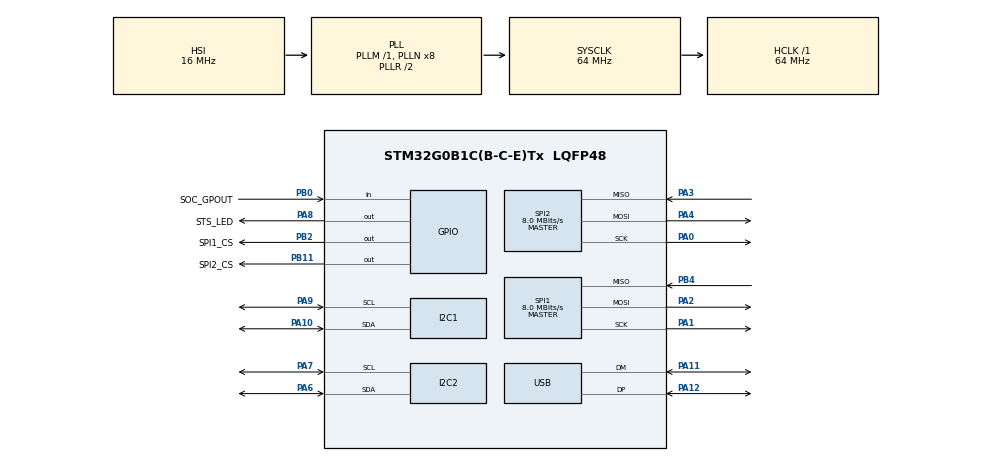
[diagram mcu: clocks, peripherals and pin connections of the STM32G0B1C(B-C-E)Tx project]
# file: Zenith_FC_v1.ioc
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FATFS._MAX_SS=512
FATFS._USE_FIND=1
I2C1.Timing=0x00503D58
I2C2.Timing=0x00503D58
Mcu.Family=STM32G0
Mcu.Name=STM32G0B1C(B-C-E)Tx
Mcu.Package=LQFP48
NVIC.TIM14_IRQn=true\:0\:0\:false\:false\:true\:true\:true\:true
NVIC.TIM16_FDCAN_IT0_IRQn=true\:0\:0\:false\:false\:true\:true\:true\:true
NVIC.TIM17_FDCAN_IT1_IRQn=true\:0\:0\:false\:false\:true\:true\:true\:true
NVIC.TIM7_LPTIM2_IRQn=true\:0\:0\:false\:false\:true\:true\:true\:true
NVIC.USB_UCPD1_2_IRQn=true\:0\:0\:false\:false\:true\:true\:true\:true
PA0.Mode=Full_Duplex_Master
PA0.Signal=SPI2_SCK
PA1.Mode=Full_Duplex_Master
PA1.Signal=SPI1_SCK
PA10.Mode=I2C
PA10.Signal=I2C1_SDA
PA11\ [PA9].Mode=Device
PA11\ [PA9].Signal=USB_DM
PA12\ [PA10].Mode=Device
PA12\ [PA10].Signal=USB_DP
PA13.Mode=Serial_Wire
PA13.Signal=SYS_SWDIO
PA14-BOOT0.Mode=Serial_Wire
PA14-BOOT0.Signal=SYS_SWCLK
PA2.Mode=Full_Duplex_Master
PA2.Signal=SPI1_MOSI
PA3.Mode=Full_Duplex_Master
PA3.Signal=SPI2_MISO
PA4.Mode=Full_Duplex_Master
PA4.Signal=SPI2_MOSI
PA6.Mode=I2C
PA6.Signal=I2C2_SDA
PA7.Mode=I2C
PA7.Signal=I2C2_SCL
PA8.GPIO_Label=STS_LED
PA8.Signal=GPIO_Output
PA9.Mode=I2C
PA9.Signal=I2C1_SCL
PB0.GPIO_Label=SOC_GPOUT
PB0.Signal=GPIO_Input
PB11.GPIO_Label=SPI2_CS
PB11.Signal=GPIO_Output
PB2.GPIO_Label=SPI1_CS
PB2.Signal=GPIO_Output
PB4.Mode=Full_Duplex_Master
PB4.Signal=SPI1_MISO
ProjectManager.HeapSize=0x1000
ProjectManager.StackSize=0x400
ProjectManager.TargetToolchain=CMake
RCC.ADCFreq_Value=64000000
RCC.AHBFreq_Value=64000000
RCC.APB1CLKDivider=RCC_HCLK_DIV4
RCC.CortexFreq_Value=64000000
RCC.EXTERNAL_CLOCK_VALUE=48000
RCC.HCLKFreq_Value=64000000
RCC.HSE_VALUE=8000000
RCC.HSI48_VALUE=48000000
RCC.HSI_VALUE=16000000
RCC.LSE_VALUE=32768
RCC.SYSCLKFreq_VALUE=64000000
RCC.SYSCLKSource=RCC_SYSCLKSOURCE_PLLCLK
RCC.USBFreq_Value=48000000
RCC.VCOOutputFreq_Value=128000000
SPI1.CLKPhase=SPI_PHASE_2EDGE
SPI1.CLKPolarity=SPI_POLARITY_HIGH
SPI1.CalculateBaudRate=8.0 MBits/s
SPI1.DataSize=SPI_DATASIZE_8BIT
SPI1.Direction=SPI_DIRECTION_2LINES
SPI1.Mode=SPI_MODE_MASTER
SPI1.VirtualType=VM_MASTER
SPI2.CalculateBaudRate=8.0 MBits/s
SPI2.DataSize=SPI_DATASIZE_8BIT
SPI2.Direction=SPI_DIRECTION_2LINES
SPI2.Mode=SPI_MODE_MASTER
SPI2.VirtualType=VM_MASTER
TIM14.Period=49999
TIM14.Prescaler=127
TIM16.Period=62499
TIM16.Prescaler=511
TIM17.Period=62499
TIM17.Prescaler=1023
TIM7.Period=39999
TIM7.Prescaler=7
USB_DEVICE.CLASS_NAME_FS=MSC
USB_DEVICE.MSC_MEDIA_PACKET=512
USB_DEVICE.USBD_DEBUG_LEVEL=0
USB_DEVICE.USBD_SELF_POWERED=0
USB_DEVICE.VirtualMode=Msc
USB_DEVICE.VirtualModeFS=Msc_FS
VP_FATFS_VS_Generic.Mode=User_defined
VP_SYS_VS_DBSignals.Mode=DisableDeadBatterySignals
VP_TIM14_VS_ClockSourceINT.Mode=Enable_Timer
VP_TIM16_VS_ClockSourceINT.Mode=Enable_Timer
VP_TIM17_VS_ClockSourceINT.Mode=Enable_Timer
VP_TIM7_VS_ClockSourceINT.Mode=Enable_Timer
VP_USB_DEVICE_VS_USB_DEVICE_MSC_FS.Mode=MSC_FS
board=custom

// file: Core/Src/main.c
/* USER CODE BEGIN Header */
/**
 ******************************************************************************
 * @file           : main.c
 * @brief          : Main program body
 ******************************************************************************
 * @attention
 *
 * Copyright (c) 2025 STMicroelectronics.
 * All rights reserved.
 *
 * This software is licensed under terms that can be found in the LICENSE file
 * in the root directory of this software component.
 * If no LICENSE file comes with this software, it is provided AS-IS.
 *
 ******************************************************************************
 */
/* USER CODE END Header */
#include "main.h"
#include "app_fatfs.h"
#include "usb_device.h"

/* USER CODE BEGIN Includes */
#include "bq27441.h"
#include "lsm6xx.h"
#include "ms5607.h"
#include "w25qxx.h"

/* USER CODE END Includes */

I2C_HandleTypeDef hi2c1;
I2C_HandleTypeDef hi2c2;

SPI_HandleTypeDef hspi1;
SPI_HandleTypeDef hspi2;

TIM_HandleTypeDef htim7;
TIM_HandleTypeDef htim14;
TIM_HandleTypeDef htim16;
TIM_HandleTypeDef htim17;

/* USER CODE BEGIN PV */
FLIGHT_STATES flight_state = PRE_LAUNCH;

// controls number of pulses for our led
static uint8_t led_count = 0;
static uint8_t led_total = 0;
static bool enable_led = false;

// store flight data in array, and flush it to a csv after flight - reduce
// read/writes on flash take 1 sample every 100ms - array has 1800 rows,
// corresponding 3 minutes of flight time
// if we run out of space flush to csv and start again

// data stored:
// | start_sample_time | end_sample_time | pressure | altitude | temperature |
// raw_accel_x | raw_accel_y | raw_accel_z | raw_gyro_x | raw_gyro_y |
// raw_gyro_z | voltage | current | soc |
static float init_data[14] = {0};
static float last_init_data[14] = {0};
static float flight_data[1800][14] = {0};
static float moving_sample_window[6][14] = {0};
static float moving_sample_window_instant[14] = {0};
uint16_t sample_point = 0;
uint16_t moving_sample_point = 0;
bool take_sample = false;
bool init_sample = false;
bool init_complete = false;
uint8_t flight_no = 0;

float avg_height;
float height_sd;

float avg_accel_y;
float accel_y_sd;

uint32_t start_flight_time = 0;
uint32_t start_pre_launch_time = 0;

/* USER CODE END PV */

void SystemClock_Config(void);
static void MX_GPIO_Init(void);
static void MX_I2C1_Init(void);
static void MX_I2C2_Init(void);
static void MX_SPI1_Init(void);
static void MX_SPI2_Init(void);
static void MX_TIM14_Init(void);
static void MX_TIM16_Init(void);
static void MX_TIM7_Init(void);
static void MX_TIM17_Init(void);
/* USER CODE BEGIN PFP */
static int16_t BQ27441_i2cWriteBytes(uint8_t DevAddress, uint8_t subAddress,
                                     uint8_t *src, uint8_t count);
static int16_t BQ27441_i2cReadBytes(uint8_t DevAddress, uint8_t subAddress,
                                    uint8_t *dest, uint8_t count);

static void blink_short(uint8_t count);
static void blink_long(uint8_t count);
/* USER CODE END PFP */

int main(void) {

  /* MCU Configuration--------------------------------------------------------*/

  /* Reset of all peripherals, Initializes the Flash interface and the Systick.
   */
  HAL_Init();

  /* USER CODE BEGIN Init */
  W25Qxxx_Init();
  /* USER CODE END Init */

  /* Configure the system clock */
  SystemClock_Config();

  /* Initialize all configured peripherals */
  MX_GPIO_Init();
  MX_I2C1_Init();
  MX_I2C2_Init();
  MX_SPI1_Init();
  MX_SPI2_Init();
  if (MX_FATFS_Init() != APP_OK) {
    Error_Handler();
  }
  MX_USB_Device_Init();
  MX_TIM14_Init();
  MX_TIM16_Init();
  MX_TIM7_Init();
  MX_TIM17_Init();
  /* USER CODE BEGIN 2 */

  // if we've connected a USB, don't worry about anything

  if (is_usb_connected()) {
    flight_state = DEBUG;
  }
  // tiny delay to let all the drivers initialize
  HAL_Delay(50);

  // intialize I/O
  if (MS5607_Init(&hspi2, SPI2_CS_GPIO_Port, SPI2_CS_Pin) == MS5607_FAIL) {
    flight_state = INIT_FAILURE;
    blink_long(2);
  }

  if (LSM6XX_Init(&hi2c2) == LSM6XX_FAIL) {
    flight_state = INIT_FAILURE;
    blink_long(3);

  } else {
    LSM6XX_set_accel_config(LSM_ACCEL_32G, LSM_ACCEL_208HZ);
    LSM6XX_set_gyro_config(LSM_GYRO_1000, LSM_GYRO_208HZ);

    LSM6XX_CAL cal_set = {.xl_hw_x = 20,
                          .xl_hw_y = -50,
                          .xl_hw_z = 44,
                          .g_sw_x = 25,
                          .g_sw_y = -10,
                          .g_sw_z = -30};

    LSM6XX_calibrate(&cal_set);

    // TODO: Make sure triggers correctly for ignition
    LSM6XX_set_ff(INT1, LSM_FF_500, 10);
  }

  BQ27441_ctx_t BQ27441 = {
      .BQ27441_i2c_address = BQ72441_I2C_ADDRESS,
      .read_reg = BQ27441_i2cReadBytes,
      .write_reg = BQ27441_i2cWriteBytes,
  };

  // configure BQ27441 for our 1100mAh battery

  if (BQ27441_init(&BQ27441) != true) {
    flight_state = INIT_FAILURE;
    blink_long(4);

  } else {
    BQ27441_setCapacity(BATTERY_CAPACITY);
    BQ27441_setDesignEnergy(BATTERY_CAPACITY * 3.7);
    BQ27441_setTerminateVoltageMin(MIN_VOLTAGE);
    BQ27441_setTaperRateVoltage(MAX_VOLTAGE);
  }

  // bq27441 needs to learn battery usage, give a sec
  HAL_Delay(100);

  // if battery not charged enough, flash warning
  // not enough to trigger fail mode but we want to let user know
  if (BQ27441_soc(FILTERED) < 70) {
    blink_short(2);
  }

  // mount fs
  FATFS fs;
  FIL fp;
  FRESULT f_res;

  DIR dj;
  FILINFO fno;
  char fp_name[13];

  // try to mount fs, blink if we can't
  f_res = f_mount(&fs, "0:", 1);

  if (f_res != FR_OK) {
    flight_state = INIT_FAILURE;
    blink_long(5);

  } else {
    // intialize flight number
    // calculate flight number - traverse root directory until all filenames
    // read
    f_res = f_findfirst(&dj, &fno, "0:", "FL_??.csv");

    // if we can't find anything, intialize flight_no to 0
    if (!fno.fname[0]) {
      flight_no = 0;
    } else {
      while (f_res == FR_OK && fno.fname[0]) {
        // digits are represented in ascii codes - subtract 48 to convert them
        flight_no = ((fno.fname[3] - 48) * 10 + (fno.fname[4] - 48)) + 1;
        f_res = f_findnext(&dj, &fno);
      }
    }

    f_closedir(&dj);
  }

  // get initial readings
  HAL_TIM_Base_Start_IT(&htim7);
  // wait until we have enough samples for intial reading
  while (init_complete == false) {
    if (init_sample) {
      HAL_TIM_Base_Stop_IT(&htim7);
      collect_init_samples(init_data, HAL_GetTick());
      init_sample = false;
      sample_point++;
      HAL_TIM_Base_Start_IT(&htim7);
    }
  }

  // start timer 14 to take sample every 100ms - for both prelaunch and launch
  HAL_TIM_Base_Start_IT(&htim14);

  // init success
  if (flight_state == PRE_LAUNCH) {
    blink_short(2);
    start_pre_launch_time = HAL_GetTick();
  }

  /* USER CODE END 2 */

  /* Infinite loop */
  while (1) {

    /* USER CODE BEGIN 3 */

    // check to see if we need to take another initial sample
    if (init_sample) {
      HAL_TIM_Base_Stop_IT(&htim7);
      collect_init_samples(init_data, HAL_GetTick());
      init_sample = false;
      sample_point++;
      HAL_TIM_Base_Start_IT(&htim7);
    }

    switch (flight_state) {
      // something is wrong - just blink LED
      // blocking blink is fine
    case INIT_FAILURE:
      HAL_TIM_Base_Stop_IT(&htim7);
      HAL_TIM_Base_Stop_IT(&htim17);
      HAL_GPIO_TogglePin(STS_LED_GPIO_Port, STS_LED_Pin);
      HAL_Delay(500);
      break;

      // constantly update moving average window
      // if pressure and accel_y increase by 1 s.d., we have a launch
      // moving average window is written to csv to capture pre-launch values
    case PRE_LAUNCH:
      // keep filling up our window
      if (take_sample == true) {
        HAL_TIM_Base_Stop_IT(&htim14);
        collect_samples(moving_sample_window_instant, last_init_data[2],
                        start_pre_launch_time);
        add_sample(moving_sample_window, moving_sample_window_instant);
        take_sample = false;
        HAL_TIM_Base_Start_IT(&htim14);

        // prevent overflowing int
        if (moving_sample_point < 6) {
          moving_sample_point += 1;
        }
      }

      // if we have enough samples to start testing for launch conditions
      if (moving_sample_point >= 6) {
        avg_height = calc_average(moving_sample_window, 3, 6, 6);
        height_sd = calc_sd(moving_sample_window, avg_height, 3, 6, 6);

        avg_accel_y = calc_average(moving_sample_window, 6, 6, 6);
        accel_y_sd = calc_sd(moving_sample_window, avg_accel_y, 6, 6, 6);

        // if both height and accel above 1.5 s.d., and accel > 1g launch has
        // beend detect. switch modes
        float inside_height = fabs(moving_sample_window[0][3] - avg_height);
        float inside_accel = fabs(moving_sample_window[0][6] - avg_accel_y);
        if (inside_height >= 1.3 * height_sd &&
            inside_accel >= 1.7 * accel_y_sd &&
            fabs(moving_sample_window[0][6]) > 6) {
          // reset samples
          sample_point = 0;
          // stop timers for init sampling
          HAL_TIM_Base_Stop_IT(&htim7);
          HAL_TIM_Base_Stop_IT(&htim17);
          // clear avg height s.d.
          avg_height = 0;
          height_sd = 0;
          // set to flight
          start_flight_time = HAL_GetTick();
          flight_state = LAUNCH;
          take_sample = true;
        }
      }

      break;

    // don't do anything when we are reading data
    // could accidentally trigger flight
    case DIAG:
      __NOP();
      break;

      // handle sampling
    case LAUNCH:
      if (take_sample) {
        // overflow
        if (sample_point > 1800) {
          HAL_TIM_Base_Stop_IT(&htim14);
          flight_state = LANDING;
          take_sample = false;
        }

        // turn on LED whilst we are sampling
        HAL_GPIO_WritePin(STS_LED_GPIO_Port, STS_LED_Pin, GPIO_PIN_SET);
        collect_samples(flight_data[sample_point], (uint32_t)last_init_data[2],
                        start_flight_time);
        HAL_GPIO_WritePin(STS_LED_GPIO_Port, STS_LED_Pin, GPIO_PIN_RESET);
        take_sample = false;

        // check to see if we have landed
        // landed is determined when current height sample is within 1 s.d. of
        // average height of last 5 samples
        avg_height = 0;
        height_sd = 0;
        if (sample_point >= 6) {
          // calculate average
          avg_height = calc_average(flight_data, 3, sample_point - 1, 5);
          height_sd = calc_sd(flight_data, avg_height, 3, sample_point - 1, 5);

          // if current reading is inside +- 0.7s.d. (50% of values), switch to
          // landing
          if (fabs((int32_t)flight_data[sample_point][3] - avg_height) <=
              0.7 * height_sd) {
            flight_state = LANDING;
            HAL_TIM_Base_Stop_IT(&htim14);
            take_sample = false;
            break;
          }
        }

        sample_point += 1;
      }

      break;

    // landing state caused by flight array overflow or successful detection,
    // whichever comes first
    case LANDING:
      sprintf(fp_name, "fl_%02d.csv", flight_no);
      f_res = f_open(&fp, fp_name, FA_CREATE_ALWAYS | FA_WRITE);
      // code to write data is really lazy and could be improved
      // works well enough
      if (f_res == FR_OK) {
        // write headers
        f_res = f_puts(
            "start_sample_time,end_sample_time,pressure,altitude,temperature,"
            "raw_accel_x,raw_accel_y,raw_"
            "accel_z,raw_gyro_x,raw_gyro_y,raw_gyro_z,voltage,current,soc\n",
            &fp);
        char init_write_buffer[64] = {0};
        // write inital data
        sprintf(init_write_buffer,
                "%d,%d,%d,%d,%d,%.2f,%.2f,%.2f,%.2f,%.2f,%.2f,%d,%d,%d\n",
                (int)init_data[0], (int)init_data[1], (int)init_data[2],
                (int)init_data[3], (int)init_data[4], init_data[5],
                init_data[6], init_data[7], init_data[8], init_data[9],
                init_data[10], (int)init_data[11], (int)init_data[12],
                (int)init_data[13]);

        f_res = f_puts(init_write_buffer, &fp);
        // write the moving window - this represents data captured right before
        // launch detected
        // write this backwards as index 0 - newest, index 6 - oldest
        // starting time offset
        uint32_t time_offs = moving_sample_window[5][0];
        for (int8_t i = 5; i >= 0; i--) {
          char flight_write_buffer[72] = {0};
          sprintf(flight_write_buffer,
                  "%lu,%lu,%d,%f,%d,%.2f,%.2f,%.2f,%.2f,%.2f,%.2f,%d,%d,%d\n",
                  (uint32_t)moving_sample_window[i][0] - time_offs,
                  (uint32_t)moving_sample_window[i][1] - time_offs,
                  (int)moving_sample_window[i][2], moving_sample_window[i][3],
                  (int)moving_sample_window[i][4], moving_sample_window[i][5],
                  moving_sample_window[i][6], moving_sample_window[i][7],
                  moving_sample_window[i][8], moving_sample_window[i][9],
                  moving_sample_window[i][10], (int)moving_sample_window[i][11],
                  (int)moving_sample_window[i][12],
                  (int)moving_sample_window[i][13]);

          f_res = f_puts(flight_write_buffer, &fp);
        }

        // only write data we have actually captured
        // sample times have offset due to moving sample window
        time_offs = moving_sample_window[0][0];
        for (uint16_t i = 0; i <= sample_point; i++) {
          char flight_write_buffer[72] = {0};
          sprintf(flight_write_buffer,
                  "%lu,%lu,%d,%.2f,%d,%.2f,%.2f,%.2f,%.2f,%.2f,%.2f,%d,%d,%d\n",
                  (uint32_t)(flight_data[i][0] + time_offs),
                  (uint32_t)(flight_data[i][1] + time_offs),
                  (int)flight_data[i][2], flight_data[i][3],
                  (int)flight_data[i][4], flight_data[i][5], flight_data[i][6],
                  flight_data[i][7], flight_data[i][8], flight_data[i][9],
                  flight_data[i][10], (int)flight_data[i][11],
                  (int)flight_data[i][12], (int)flight_data[i][13]);

          f_res = f_puts(flight_write_buffer, &fp);
        }

        // turn on LED to show successful flight
        HAL_GPIO_WritePin(STS_LED_GPIO_Port, STS_LED_Pin, GPIO_PIN_SET);
      }
      f_close(&fp);

      LSM6XX_disable_ff();
      flight_state = DIAG;

      break;
    }
  }
  /* USER CODE END 3 */
}

void SystemClock_Config(void) {
  RCC_OscInitTypeDef RCC_OscInitStruct = {0};
  RCC_ClkInitTypeDef RCC_ClkInitStruct = {0};

  /** Configure the main internal regulator output voltage
   */
  HAL_PWREx_ControlVoltageScaling(PWR_REGULATOR_VOLTAGE_SCALE1);

  /** Initializes the RCC Oscillators according to the specified parameters
   * in the RCC_OscInitTypeDef structure.
   */
  RCC_OscInitStruct.OscillatorType =
      RCC_OSCILLATORTYPE_HSI | RCC_OSCILLATORTYPE_HSI48;
  RCC_OscInitStruct.HSIState = RCC_HSI_ON;
  RCC_OscInitStruct.HSI48State = RCC_HSI48_ON;
  RCC_OscInitStruct.HSIDiv = RCC_HSI_DIV1;
  RCC_OscInitStruct.HSICalibrationValue = RCC_HSICALIBRATION_DEFAULT;
  RCC_OscInitStruct.PLL.PLLState = RCC_PLL_ON;
  RCC_OscInitStruct.PLL.PLLSource = RCC_PLLSOURCE_HSI;
  RCC_OscInitStruct.PLL.PLLM = RCC_PLLM_DIV1;
  RCC_OscInitStruct.PLL.PLLN = 8;
  RCC_OscInitStruct.PLL.PLLP = RCC_PLLP_DIV2;
  RCC_OscInitStruct.PLL.PLLQ = RCC_PLLQ_DIV2;
  RCC_OscInitStruct.PLL.PLLR = RCC_PLLR_DIV2;
  if (HAL_RCC_OscConfig(&RCC_OscInitStruct) != HAL_OK) {
    Error_Handler();
  }

  /** Initializes the CPU, AHB and APB buses clocks
   */
  RCC_ClkInitStruct.ClockType =
      RCC_CLOCKTYPE_HCLK | RCC_CLOCKTYPE_SYSCLK | RCC_CLOCKTYPE_PCLK1;
  RCC_ClkInitStruct.SYSCLKSource = RCC_SYSCLKSOURCE_PLLCLK;
  RCC_ClkInitStruct.AHBCLKDivider = RCC_SYSCLK_DIV1;
  RCC_ClkInitStruct.APB1CLKDivider = RCC_HCLK_DIV4;

  if (HAL_RCC_ClockConfig(&RCC_ClkInitStruct, FLASH_LATENCY_2) != HAL_OK) {
    Error_Handler();
  }
}

static void MX_I2C1_Init(void) {

  hi2c1.Instance = I2C1;
  hi2c1.Init.Timing = 0x00503D58;
  hi2c1.Init.OwnAddress1 = 0;
  hi2c1.Init.AddressingMode = I2C_ADDRESSINGMODE_7BIT;
  hi2c1.Init.DualAddressMode = I2C_DUALADDRESS_DISABLE;
  hi2c1.Init.OwnAddress2 = 0;
  hi2c1.Init.OwnAddress2Masks = I2C_OA2_NOMASK;
  hi2c1.Init.GeneralCallMode = I2C_GENERALCALL_DISABLE;
  hi2c1.Init.NoStretchMode = I2C_NOSTRETCH_DISABLE;
  if (HAL_I2C_Init(&hi2c1) != HAL_OK) {
    Error_Handler();
  }

  /** Configure Analogue filter
   */
  if (HAL_I2CEx_ConfigAnalogFilter(&hi2c1, I2C_ANALOGFILTER_ENABLE) != HAL_OK) {
    Error_Handler();
  }

  /** Configure Digital filter
   */
  if (HAL_I2CEx_ConfigDigitalFilter(&hi2c1, 0) != HAL_OK) {
    Error_Handler();
  }
}

static void MX_I2C2_Init(void) {

  hi2c2.Instance = I2C2;
  hi2c2.Init.Timing = 0x00503D58;
  hi2c2.Init.OwnAddress1 = 0;
  hi2c2.Init.AddressingMode = I2C_ADDRESSINGMODE_7BIT;
  hi2c2.Init.DualAddressMode = I2C_DUALADDRESS_DISABLE;
  hi2c2.Init.OwnAddress2 = 0;
  hi2c2.Init.OwnAddress2Masks = I2C_OA2_NOMASK;
  hi2c2.Init.GeneralCallMode = I2C_GENERALCALL_DISABLE;
  hi2c2.Init.NoStretchMode = I2C_NOSTRETCH_DISABLE;
  if (HAL_I2C_Init(&hi2c2) != HAL_OK) {
    Error_Handler();
  }

  /** Configure Analogue filter
   */
  if (HAL_I2CEx_ConfigAnalogFilter(&hi2c2, I2C_ANALOGFILTER_ENABLE) != HAL_OK) {
    Error_Handler();
  }

  /** Configure Digital filter
   */
  if (HAL_I2CEx_ConfigDigitalFilter(&hi2c2, 0) != HAL_OK) {
    Error_Handler();
  }
}

static void MX_SPI1_Init(void) {

  /* SPI1 parameter configuration*/
  hspi1.Instance = SPI1;
  hspi1.Init.Mode = SPI_MODE_MASTER;
  hspi1.Init.Direction = SPI_DIRECTION_2LINES;
  hspi1.Init.DataSize = SPI_DATASIZE_8BIT;
  hspi1.Init.CLKPolarity = SPI_POLARITY_HIGH;
  hspi1.Init.CLKPhase = SPI_PHASE_2EDGE;
  hspi1.Init.NSS = SPI_NSS_SOFT;
  hspi1.Init.BaudRatePrescaler = SPI_BAUDRATEPRESCALER_2;
  hspi1.Init.FirstBit = SPI_FIRSTBIT_MSB;
  hspi1.Init.TIMode = SPI_TIMODE_DISABLE;
  hspi1.Init.CRCCalculation = SPI_CRCCALCULATION_DISABLE;
  hspi1.Init.CRCPolynomial = 7;
  hspi1.Init.CRCLength = SPI_CRC_LENGTH_DATASIZE;
  hspi1.Init.NSSPMode = SPI_NSS_PULSE_DISABLE;
  if (HAL_SPI_Init(&hspi1) != HAL_OK) {
    Error_Handler();
  }
}

static void MX_SPI2_Init(void) {

  /* SPI2 parameter configuration*/
  hspi2.Instance = SPI2;
  hspi2.Init.Mode = SPI_MODE_MASTER;
  hspi2.Init.Direction = SPI_DIRECTION_2LINES;
  hspi2.Init.DataSize = SPI_DATASIZE_8BIT;
  hspi2.Init.CLKPolarity = SPI_POLARITY_LOW;
  hspi2.Init.CLKPhase = SPI_PHASE_1EDGE;
  hspi2.Init.NSS = SPI_NSS_SOFT;
  hspi2.Init.BaudRatePrescaler = SPI_BAUDRATEPRESCALER_2;
  hspi2.Init.FirstBit = SPI_FIRSTBIT_MSB;
  hspi2.Init.TIMode = SPI_TIMODE_DISABLE;
  hspi2.Init.CRCCalculation = SPI_CRCCALCULATION_DISABLE;
  hspi2.Init.CRCPolynomial = 7;
  hspi2.Init.CRCLength = SPI_CRC_LENGTH_DATASIZE;
  hspi2.Init.NSSPMode = SPI_NSS_PULSE_ENABLE;
  if (HAL_SPI_Init(&hspi2) != HAL_OK) {
    Error_Handler();
  }
}

static void MX_TIM7_Init(void) {

  TIM_MasterConfigTypeDef sMasterConfig = {0};

  htim7.Instance = TIM7;
  htim7.Init.Prescaler = 7;
  htim7.Init.CounterMode = TIM_COUNTERMODE_UP;
  htim7.Init.Period = 39999;
  htim7.Init.AutoReloadPreload = TIM_AUTORELOAD_PRELOAD_DISABLE;
  if (HAL_TIM_Base_Init(&htim7) != HAL_OK) {
    Error_Handler();
  }
  sMasterConfig.MasterOutputTrigger = TIM_TRGO_RESET;
  sMasterConfig.MasterSlaveMode = TIM_MASTERSLAVEMODE_DISABLE;
  if (HAL_TIMEx_MasterConfigSynchronization(&htim7, &sMasterConfig) != HAL_OK) {
    Error_Handler();
  }
}

static void MX_TIM14_Init(void) {

  htim14.Instance = TIM14;
  htim14.Init.Prescaler = 127;
  htim14.Init.CounterMode = TIM_COUNTERMODE_UP;
  htim14.Init.Period = 49999;
  htim14.Init.ClockDivision = TIM_CLOCKDIVISION_DIV1;
  htim14.Init.AutoReloadPreload = TIM_AUTORELOAD_PRELOAD_DISABLE;
  if (HAL_TIM_Base_Init(&htim14) != HAL_OK) {
    Error_Handler();
  }
}

static void MX_TIM16_Init(void) {

  htim16.Instance = TIM16;
  htim16.Init.Prescaler = 511;
  htim16.Init.CounterMode = TIM_COUNTERMODE_UP;
  htim16.Init.Period = 62499;
  htim16.Init.ClockDivision = TIM_CLOCKDIVISION_DIV1;
  htim16.Init.RepetitionCounter = 0;
  htim16.Init.AutoReloadPreload = TIM_AUTORELOAD_PRELOAD_DISABLE;
  if (HAL_TIM_Base_Init(&htim16) != HAL_OK) {
    Error_Handler();
  }
}

static void MX_TIM17_Init(void) {

  htim17.Instance = TIM17;
  htim17.Init.Prescaler = 1023;
  htim17.Init.CounterMode = TIM_COUNTERMODE_UP;
  htim17.Init.Period = 62499;
  htim17.Init.ClockDivision = TIM_CLOCKDIVISION_DIV1;
  htim17.Init.RepetitionCounter = 0;
  htim17.Init.AutoReloadPreload = TIM_AUTORELOAD_PRELOAD_DISABLE;
  if (HAL_TIM_Base_Init(&htim17) != HAL_OK) {
    Error_Handler();
  }
}

static void MX_GPIO_Init(void) {
  GPIO_InitTypeDef GPIO_InitStruct = {0};

  /* GPIO Ports Clock Enable */
  __HAL_RCC_GPIOA_CLK_ENABLE();
  __HAL_RCC_GPIOB_CLK_ENABLE();

  /*Configure GPIO pin Output Level */
  HAL_GPIO_WritePin(GPIOB, SPI1_CS_Pin | SPI2_CS_Pin, GPIO_PIN_RESET);

  /*Configure GPIO pin Output Level */
  HAL_GPIO_WritePin(STS_LED_GPIO_Port, STS_LED_Pin, GPIO_PIN_RESET);

  /*Configure GPIO pin : SOC_GPOUT_Pin */
  GPIO_InitStruct.Pin = SOC_GPOUT_Pin;
  GPIO_InitStruct.Mode = GPIO_MODE_INPUT;
  GPIO_InitStruct.Pull = GPIO_NOPULL;
  HAL_GPIO_Init(SOC_GPOUT_GPIO_Port, &GPIO_InitStruct);

  /*Configure GPIO pins : SPI1_CS_Pin SPI2_CS_Pin */
  GPIO_InitStruct.Pin = SPI1_CS_Pin | SPI2_CS_Pin;
  GPIO_InitStruct.Mode = GPIO_MODE_OUTPUT_PP;
  GPIO_InitStruct.Pull = GPIO_NOPULL;
  GPIO_InitStruct.Speed = GPIO_SPEED_FREQ_LOW;
  HAL_GPIO_Init(GPIOB, &GPIO_InitStruct);

  /*Configure GPIO pin : STS_LED_Pin */
  GPIO_InitStruct.Pin = STS_LED_Pin;
  GPIO_InitStruct.Mode = GPIO_MODE_OUTPUT_PP;
  GPIO_InitStruct.Pull = GPIO_NOPULL;
  GPIO_InitStruct.Speed = GPIO_SPEED_FREQ_LOW;
  HAL_GPIO_Init(STS_LED_GPIO_Port, &GPIO_InitStruct);

}

/* USER CODE BEGIN 4 */
// Definitions for BQ27441 IC
static int16_t BQ27441_i2cWriteBytes(uint8_t DevAddress, uint8_t subAddress,
                                     uint8_t *src, uint8_t count) {
  if (HAL_I2C_Mem_Write(&hi2c1, (uint16_t)(DevAddress << 1), subAddress, 1, src,
                        count, 50) == HAL_OK)
    return true;
  else
    return false;
}

static int16_t BQ27441_i2cReadBytes(uint8_t DevAddress, uint8_t subAddress,
                                    uint8_t *dest, uint8_t count) {
  if (HAL_I2C_Mem_Read(&hi2c1, (uint16_t)(DevAddress << 1), subAddress, 1, dest,
                       count, 50) == HAL_OK)
    return true;
  else
    return false;
}

// handlers to enable led blinking

static void blink_short(uint8_t count) {
  led_total = count;
  enable_led = true;
  HAL_TIM_Base_Start_IT(&htim14);
}
static void blink_long(uint8_t count) {
  led_total = count;
  enable_led = true;
  HAL_TIM_Base_Start_IT(&htim16);
}
// interrupt handler for timers
// timers configured as follows:
// TIM7 - 20ms
// TIM14 - 100ms
// TIM16 - 500ms
// TIM17 - 1s
// LED pulse time controlled by timers - TIM14 is 100ms (short), TIM16 is 500ms
// (long) TIM7 handles updating initial samples TIM17 handles reset period for
// initial samples

void HAL_TIM_PeriodElapsedCallback(TIM_HandleTypeDef *htim) {
  // handle LED blinking
  if (htim == &htim14 || htim == &htim16) {
    if (enable_led) {
      // one pulse needs both on and off
      // double the amount of pulses we want
      // led_count is 0-indexed
      if (led_count <= led_total * 2 - 1) {
        HAL_GPIO_TogglePin(STS_LED_GPIO_Port, STS_LED_Pin);
        led_count++;
      } else {
        // reset timer
        led_total = 0;
        led_count = 0;
        enable_led = false;
        // CAREFUL - only disable this timer when we aren't flying
        // otherwise we stop our samples :/
        // 500ms timer always disabled
        if (flight_state != LAUNCH) {
          HAL_TIM_Base_Stop_IT(htim);
        }
      }
    }
  }

  // if we are sampling data and not currently flying (incase we forget to turn
  // off the timer)
  if (htim == &htim7 && flight_state == PRE_LAUNCH) {
    if (sample_point < (AVG_SAMPLE_COUNT)) {
      init_sample = true;
    } else {
      // collected enough samples - average them
      average_init_samples(init_data, AVG_SAMPLE_COUNT);
      init_complete = true;
      // if we start flying mid sample, we want a reference to the old one
      memcpy(last_init_data, init_data, sizeof(init_data));
      HAL_TIM_Base_Stop_IT(&htim7);
      // start count down to reset initial samples
      HAL_TIM_Base_Start_IT(&htim17);
      // clear sample reinit
    }
  }

  // if we want to reset initial samples
  if (htim == &htim17 && flight_state == PRE_LAUNCH) {
    clear_samples(init_data);
    sample_point = 0;
    HAL_TIM_Base_Start_IT(&htim7);
    HAL_TIM_Base_Stop_IT(&htim17);
  }

  // take sample if we are sampling
  if (htim == &htim14) {
    take_sample = true;
  }
}

/* USER CODE END 4 */

void Error_Handler(void) {
  /* USER CODE BEGIN Error_Handler_Debug */
  /* User can add his own implementation to report the HAL error return state
   */
  __disable_irq();
  while (1) {
  }
  /* USER CODE END Error_Handler_Debug */
}
#ifdef USE_FULL_ASSERT
/**
 * @brief  Reports the name of the source file and the source line number
 *         where the assert_param error has occurred.
 * @param  file: pointer to the source file name
 * @param  line: assert_param error line source number
 * @retval None
 */
void assert_failed(uint8_t *file, uint32_t line) {
  /* USER CODE BEGIN 6 */
  /* User can add his own implementation to report the file name and line
     number,
     ex: printf("Wrong parameters value: file %s on line %d\r\n", file, line)
   */
  /* USER CODE END 6 */
}
#endif /* USE_FULL_ASSERT */
